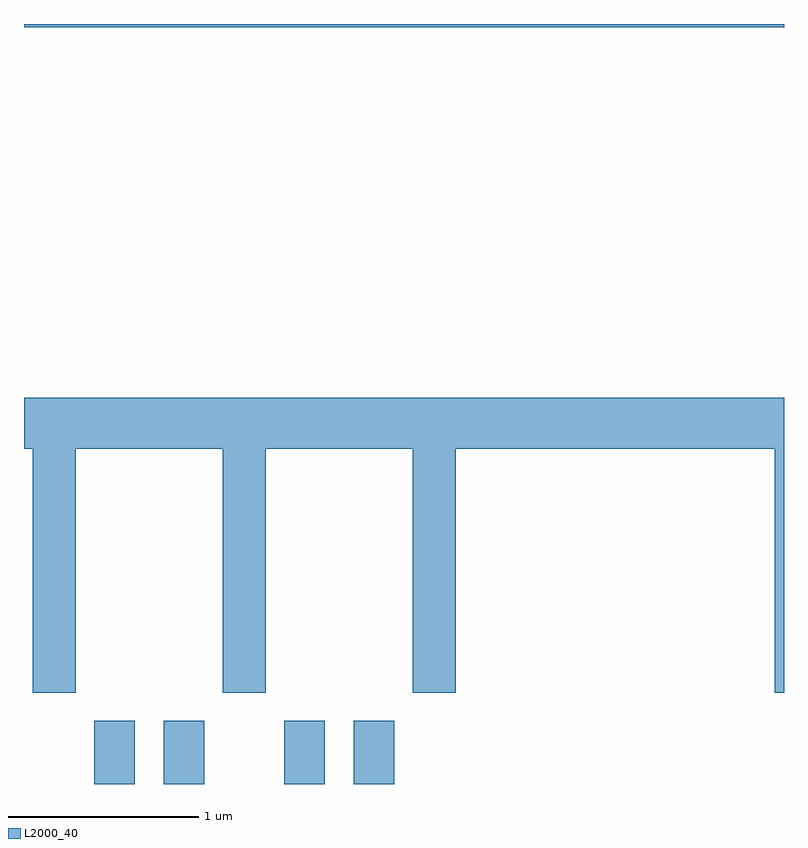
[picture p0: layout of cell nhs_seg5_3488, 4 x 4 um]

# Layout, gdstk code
import gdstk
lib = gdstk.Library(unit=1e-6, precision=1e-09)
def R(c, l, rs):  # rectangles x0, y0, x1, y1
    for r in rs: c.add(gdstk.rectangle(r[:2], r[2:], *l))
def P(c, l, *ps):  # polygons
    for p in ps: c.add(gdstk.Polygon(p, *l))
L2000_40 = (2000, 40)

nhs_seg5_3488 = lib.new_cell('nhs_seg5_3488')
R(nhs_seg5_3488, L2000_40, [(287.981,1526.072,288.194,1526.404), (288.346,1526.072,288.559,1526.404), (288.981,1526.072,289.194,1526.404), (289.346,1526.072,289.559,1526.404), (287.611,1530.056,291.611,1530.072)])
P(nhs_seg5_3488, L2000_40, [(287.884,1527.836),(288.656,1527.836),(288.656,1526.551),(288.884,1526.551),(288.884,1527.836),(289.656,1527.836),(289.656,1526.551),(289.884,1526.551),(289.884,1527.836),(291.561,1527.836),(291.561,1526.551),(291.611,1526.551),(291.611,1528.104),(287.611,1528.104),(287.611,1527.836),(287.656,1527.836),(287.656,1526.551),(287.884,1526.551)])

lib.write_gds('nhs_seg5_3488.gds')
